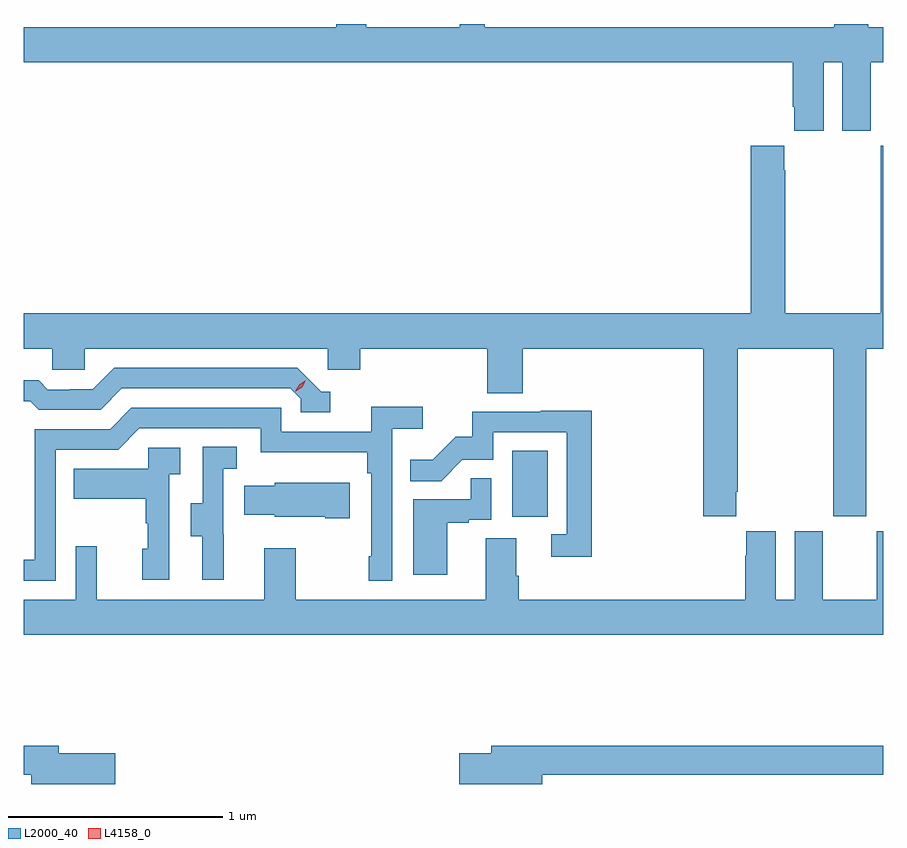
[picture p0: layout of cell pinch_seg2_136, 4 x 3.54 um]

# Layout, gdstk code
import gdstk
lib = gdstk.Library(unit=1e-6, precision=1e-09)
def R(c, l, rs):  # rectangles x0, y0, x1, y1
    for r in rs: c.add(gdstk.rectangle(r[:2], r[2:], *l))
def P(c, l, *ps):  # polygons
    for p in ps: c.add(gdstk.Polygon(p, *l))
L2000_40 = (2000, 40)
L4158_0 = (4158, 0)

pinch_seg2_136 = lib.new_cell('pinch_seg2_136')
R(pinch_seg2_136, L2000_40, [(1118.852,644.19,1119.016,644.497)])
P(pinch_seg2_136, L2000_40, [(1118.033,646.483),(1118.033,646.468),(1116.578,646.468),(1116.578,646.304),(1120.157,646.304),(1120.157,646.099),(1120.163,646.099),(1120.163,645.987),(1120.3,645.987),(1120.3,646.304),(1120.388,646.304),(1120.388,645.987),(1120.519,645.987),(1120.519,646.304),(1120.578,646.304),(1120.578,646.468),(1120.509,646.468),(1120.509,646.483),(1120.349,646.483),(1120.349,646.468),(1118.723,646.468),(1118.723,646.483),(1118.607,646.483),(1118.607,646.468),(1118.173,646.468),(1118.173,646.483)],
  [(1120.345,644.193),(1120.5,644.193),(1120.5,644.972),(1120.578,644.972),(1120.578,645.916),(1120.567,645.916),(1120.567,645.136),(1120.122,645.136),(1120.122,645.803),(1120.117,645.803),(1120.117,645.916),(1119.962,645.916),(1119.962,645.136),(1116.578,645.136),(1116.578,644.972),(1116.711,644.972),(1116.711,644.874),(1116.861,644.874),(1116.861,644.972),(1117.992,644.972),(1117.992,644.874),(1118.144,644.874),(1118.144,644.972),(1118.735,644.972),(1118.735,644.764),(1118.9,644.764),(1118.9,644.972),(1119.74,644.972),(1119.74,644.193),(1119.895,644.193),(1119.895,644.305),(1119.9,644.305),(1119.9,644.972),(1120.345,644.972)],
  [(1118.005,644.772),(1117.962,644.772),(1117.851,644.883),(1116.998,644.883),(1116.899,644.784),(1116.792,644.784),(1116.792,644.781),(1116.689,644.781),(1116.647,644.824),(1116.578,644.824),(1116.578,644.727),(1116.608,644.727),(1116.647,644.688),(1116.936,644.688),(1117.035,644.787),(1117.818,644.787),(1117.866,644.739),(1117.866,644.676),(1118.005,644.676)],
  [(1116.726,644.502),(1117.017,644.502),(1117.116,644.601),(1117.68,644.601),(1117.68,644.489),(1118.176,644.489),(1118.176,644.393),(1118.196,644.393),(1118.196,644.005),(1118.184,644.005),(1118.184,643.893),(1118.292,643.893),(1118.292,644.6),(1118.434,644.6),(1118.434,644.702),(1118.195,644.702),(1118.195,644.586),(1117.776,644.586),(1117.776,644.697),(1117.079,644.697),(1116.98,644.598),(1116.63,644.598),(1116.63,643.989),(1116.578,643.989),(1116.578,643.893),(1116.726,643.893)],
  [(1119.221,644.684),(1118.983,644.684),(1118.983,644.679),(1118.665,644.679),(1118.665,644.562),(1118.588,644.562),(1118.481,644.455),(1118.377,644.455),(1118.377,644.356),(1118.521,644.356),(1118.619,644.454),(1118.763,644.454),(1118.763,644.583),(1119.105,644.583),(1119.105,644.109),(1119.033,644.109),(1119.033,644.004),(1119.221,644.004)],
  [(1117.508,644.109),(1117.506,644.109),(1117.506,644.413),(1117.57,644.413),(1117.57,644.516),(1117.41,644.516),(1117.41,644.253),(1117.355,644.253),(1117.355,644.098),(1117.409,644.098),(1117.409,643.896),(1117.508,643.896)],
  [(1117.254,644.387),(1117.306,644.387),(1117.306,644.511),(1117.158,644.511),(1117.158,644.413),(1116.811,644.413),(1116.811,644.273),(1117.146,644.273),(1117.146,644.159),(1117.156,644.159),(1117.156,644.04),(1117.13,644.04),(1117.13,643.896),(1117.254,643.896)],
  [(1118.548,644.163),(1118.648,644.163),(1118.648,644.175),(1118.754,644.175),(1118.754,644.369),(1118.659,644.369),(1118.659,644.271),(1118.39,644.271),(1118.39,643.92),(1118.548,643.92)],
  [(1118.095,644.347),(1117.746,644.347),(1117.746,644.335),(1117.603,644.335),(1117.603,644.198),(1117.746,644.198),(1117.746,644.189),(1117.982,644.189),(1117.982,644.182),(1118.095,644.182)],
  [(1120.578,644.122),(1120.547,644.122),(1120.547,643.804),(1120.297,643.804),(1120.297,644.122),(1120.166,644.122),(1120.166,643.804),(1120.078,643.804),(1120.078,644.122),(1119.941,644.122),(1119.941,644.009),(1119.935,644.009),(1119.935,643.804),(1118.882,643.804),(1118.882,643.916),(1118.869,643.916),(1118.869,644.09),(1118.729,644.09),(1118.729,643.804),(1117.845,643.804),(1117.845,644.044),(1117.697,644.044),(1117.697,643.804),(1116.917,643.804),(1116.917,644.053),(1116.819,644.053),(1116.819,643.804),(1116.578,643.804),(1116.578,643.64),(1120.578,643.64)],
  [(1117.003,643.088),(1116.742,643.088),(1116.742,643.124),(1116.578,643.124),(1116.578,642.988),(1116.614,642.988),(1116.614,642.946),(1117.003,642.946)],
  [(1118.992,642.988),(1120.578,642.988),(1120.578,643.124),(1118.753,643.124),(1118.753,643.088),(1118.604,643.088),(1118.604,642.946),(1118.992,642.946)])
P(pinch_seg2_136, L4158_0, [(1117.842,644.773),(1117.842,644.773),(1117.859,644.805),(1117.89,644.824),(1117.89,644.824),(1117.89,644.824),(1117.874,644.792),(1117.843,644.773)])

lib.write_gds('pinch_seg2_136.gds')
